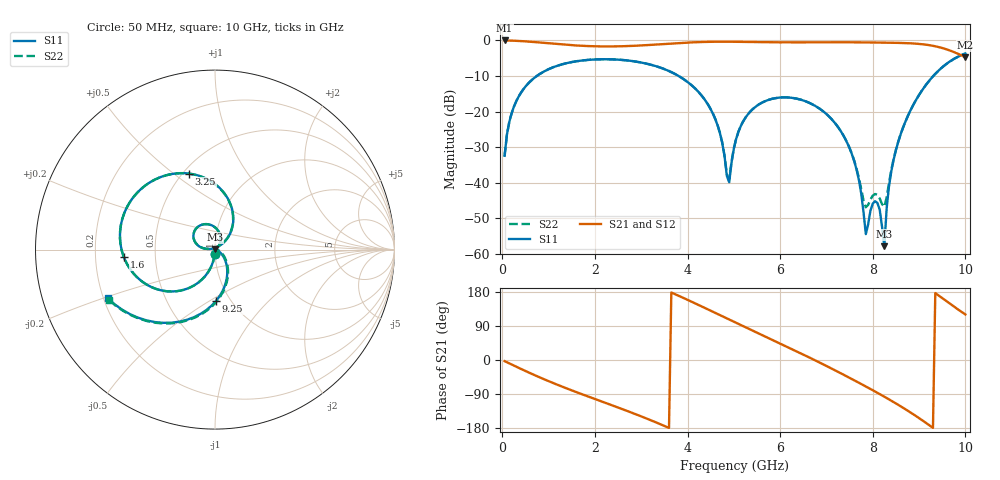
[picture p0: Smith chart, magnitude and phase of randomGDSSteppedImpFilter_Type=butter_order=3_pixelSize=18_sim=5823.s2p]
! freq	dB(S11)	phase(S11)	dB(S12)	phase(S12)
!  dB(S21)	phase(S21)	dB(S22)	phase(S22)
!S-par simulation data
#  GHz  S  DB  R 50
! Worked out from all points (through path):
!   200 points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, 50 MHz to 10 GHz, reference 50 ohm
!   highest |S21| = -0.01 dB at 50 MHz (marker M1); lowest = -4.7 dB at 10 GHz (marker M2)
!   group delay of S21, straight-line fit = 160 ps
!   lowest |S11| = -57.8 dB at 8.25 GHz (marker M3), VSWR 1.00, Z = 50.1 + j0.101 ohm
!   |S11| at or under -10 dB: start of sweep to 744.2 MHz; 3.809 GHz to 9.306 GHz (5.497 GHz wide, 83.8 % of centre)
!   |S22| runs from -46.9 to -3.7 dB; largest |S21 - S12| = 0
!   S11 on the Smith chart (normalised r, x): 50 MHz: 1.00, -0.05; 1.6 GHz: 0.33, -0.04; 3.25 GHz: 0.54, +0.57; 9.25 GHz: 0.85, -0.54; 10 GHz: 0.22, -0.21
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0.05  -32.41 -93.0  -0.01 -3.0  -0.01 -3.0  -32.41 -93.0
0.2  -20.53 -102.3  -0.06 -11.8  -0.06 -11.8  -20.53 -102.3
0.45  -13.80 -116.6  -0.22 -26.2  -0.22 -26.2  -13.80 -116.6
1.6  -5.86 -175.3  -1.42 -84.8  -1.42 -84.8  -5.86 -175.3
1.75  -5.60 177.8  -1.53 -91.7  -1.53 -91.7  -5.60 177.9
3.25  -6.97 109.0  -1.21 -161.1  -1.21 -161.1  -6.97 109.1
3.4  -7.58 101.4  -1.08 -168.7  -1.08 -168.7  -7.58 101.6
4.45  -18.18 46.7  -0.40 133.0  -0.40 133.0  -18.18 47.3
4.7  -26.03 38.5  -0.36 118.4  -0.36 118.4  -25.99 39.9
4.9  -39.83 132.2  -0.36 106.7  -0.36 106.7  -39.01 130.2
5.05  -27.65 175.6  -0.38 98.0  -0.38 98.0  -27.59 174.3
5.65  -17.21 150.4  -0.49 63.5  -0.49 63.5  -17.20 150.2
6.7  -17.98 91.2  -0.53 2.5  -0.53 2.5  -17.97 91.6
7.4  -27.53 49.8  -0.52 -40.7  -0.52 -40.7  -27.48 52.5
7.7  -39.18 37.8  -0.54 -60.0  -0.54 -60.0  -38.61 49.7
7.85  -54.40 94.1  -0.56 -69.8  -0.56 -69.8  -46.87 101.1
8.05  -45.16 168.3  -0.59 -83.2  -0.59 -83.2  -43.14 143.3
8.25  -57.80 51.6  -0.62 -96.8  -0.62 -96.8  -46.74 72.0
8.35  -40.98 -11.4  -0.64 -103.8  -0.64 -103.8  -40.01 10.2
8.65  -24.61 -39.1  -0.72 -125.7  -0.72 -125.7  -24.59 -34.8
9.25  -10.83 -89.1  -1.39 -174.6  -1.39 -174.6  -10.83 -87.9
10  -3.67 -155.5  -4.74 120.1  -4.74 120.1  -3.67 -154.8
